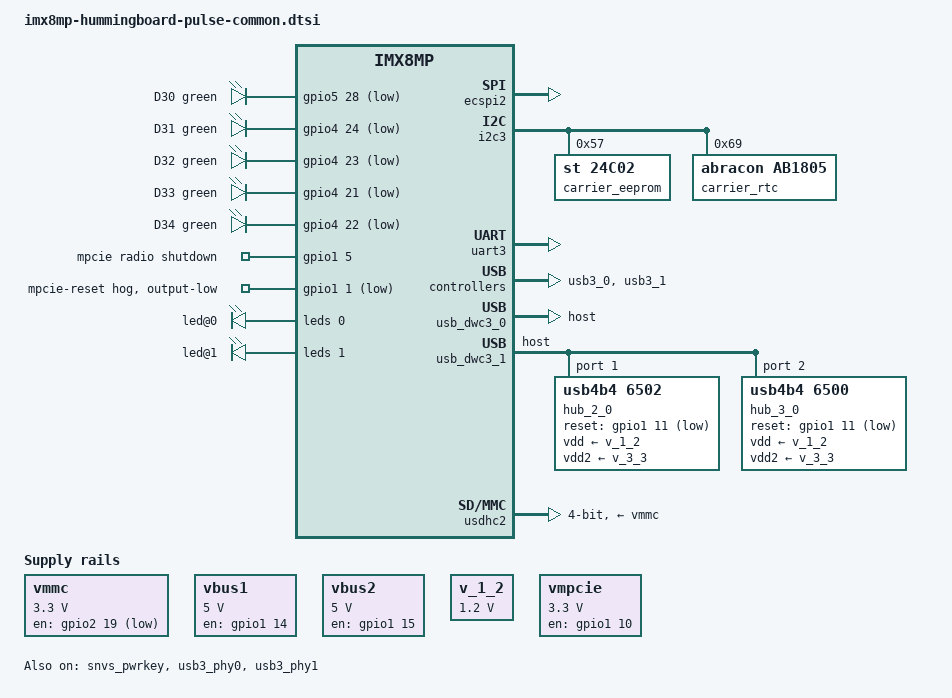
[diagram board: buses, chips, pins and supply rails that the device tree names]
// SPDX-License-Identifier: (GPL-2.0+ OR MIT)
/*
 * Copyright 2025 Josua Mayer <josua@solid-run.com>
 */

#include <dt-bindings/leds/common.h>

/ {
	aliases {
		rtc0 = &carrier_rtc;
		rtc1 = &snvs_rtc;
	};

	leds {
		compatible = "gpio-leds";
		pinctrl-names = "default";
		pinctrl-0 = <&led_pins>;

		led-0 {
			label = "D30";
			color = <LED_COLOR_ID_GREEN>;
			gpios = <&gpio5 28 GPIO_ACTIVE_LOW>;
			default-state = "on";
		};

		led-1 {
			label = "D31";
			color = <LED_COLOR_ID_GREEN>;
			gpios = <&gpio4 24 GPIO_ACTIVE_LOW>;
			default-state = "on";
		};

		led-2 {
			label = "D32";
			color = <LED_COLOR_ID_GREEN>;
			gpios = <&gpio4 23 GPIO_ACTIVE_LOW>;
			default-state = "on";
		};

		led-3 {
			label = "D33";
			color = <LED_COLOR_ID_GREEN>;
			gpios = <&gpio4 21 GPIO_ACTIVE_LOW>;
			default-state = "on";
		};

		led-4 {
			label = "D34";
			color = <LED_COLOR_ID_GREEN>;
			gpios = <&gpio4 22 GPIO_ACTIVE_LOW>;
			default-state = "on";
		};
	};

	rfkill-mpcie-wifi {
		/*
		 * The mpcie connector only has USB,
		 * therefore this rfkill is for cellular radios only.
		 */
		compatible = "rfkill-gpio";
		pinctrl-names = "default";
		pinctrl-0 = <&mpcie_rfkill_pins>;
		label = "mpcie radio";
		radio-type = "wwan";
		/* rfkill-gpio inverts internally */
		shutdown-gpios = <&gpio1 5 GPIO_ACTIVE_HIGH>;
	};

	vmmc: regulator-mmc {
		compatible = "regulator-fixed";
		pinctrl-names = "default";
		pinctrl-0 = <&vmmc_pins>;
		regulator-name = "vmmc";
		regulator-min-microvolt = <3300000>;
		regulator-max-microvolt = <3300000>;
		gpio = <&gpio2 19 GPIO_ACTIVE_HIGH>;
		startup-delay-us = <250>;
	};

	vbus1: regulator-vbus-1 {
		compatible = "regulator-fixed";
		regulator-name = "vbus1";
		gpio = <&gpio1 14 GPIO_ACTIVE_HIGH>;
		enable-active-high;
		pinctrl-names = "default";
		pinctrl-0 = <&vbus1_pins>;
		regulator-min-microvolt = <5000000>;
		regulator-max-microvolt = <5000000>;
	};

	vbus2: regulator-vbus-2 {
		compatible = "regulator-fixed";
		regulator-name = "vbus2";
		gpio = <&gpio1 15 GPIO_ACTIVE_HIGH>;
		enable-active-high;
		pinctrl-names = "default";
		pinctrl-0 = <&vbus2_pins>;
		regulator-min-microvolt = <5000000>;
		regulator-max-microvolt = <5000000>;
	};

	v_1_2: regulator-1-2 {
		compatible = "regulator-fixed";
		regulator-name = "1v2";
		regulator-min-microvolt = <1200000>;
		regulator-max-microvolt = <1200000>;
	};

	vmpcie {
		/* supplies mpcie and m2 connectors */
		compatible = "regulator-fixed";
		regulator-name = "vmpcie";
		gpio = <&gpio1 10 GPIO_ACTIVE_HIGH>;
		enable-active-high;
		pinctrl-names = "default";
		pinctrl-0 = <&vmpcie_pins>;
		regulator-min-microvolt = <3300000>;
		regulator-max-microvolt = <3300000>;
		regulator-always-on;
	};
};

/* mikrobus spi */
&ecspi2 {
	num-cs = <1>;
	pinctrl-names = "default";
	pinctrl-0 = <&mikro_spi_pins>;
	status = "okay";
};

&gpio1 {
	pinctrl-0 = <&mpcie_reset_pins>;
	pinctrl-names = "default";

	mpcie-reset-hog {
		gpio-hog;
		gpios = <1 GPIO_ACTIVE_LOW>;
		output-low;
		line-name = "mpcie-reset";
	};
};

&i2c3 {
	carrier_eeprom: eeprom@57{
		compatible = "st,24c02", "atmel,24c02";
		reg = <0x57>;
		pagesize = <16>;
	};

	carrier_rtc: rtc@69 {
		compatible = "abracon,ab1805";
		reg = <0x69>;
		abracon,tc-diode = "schottky";
		abracon,tc-resistor = <3>;
	};
};

&iomuxc {
	csi_pins: pinctrl-csi-grp {
		fsl,pins = <
			/* Pin 24: STROBE */
			MX8MP_IOMUXC_NAND_DATA01__GPIO3_IO07		0x0
		>;
	};

	led_pins: pinctrl-led-grp {
		fsl,pins = <
			MX8MP_IOMUXC_SAI2_RXC__GPIO4_IO22		0x0
			MX8MP_IOMUXC_SAI2_RXFS__GPIO4_IO21		0x0
			MX8MP_IOMUXC_SAI2_RXD0__GPIO4_IO23		0x0
			MX8MP_IOMUXC_SAI2_TXFS__GPIO4_IO24		0x0
			MX8MP_IOMUXC_UART4_RXD__GPIO5_IO28		0x0
		>;
	};

	mikro_int_pins: pinctrl-mikro-int-grp {
		fsl,pins = <
			MX8MP_IOMUXC_ECSPI1_SS0__GPIO5_IO09		0x0
		>;
	};

	mikro_pwm_pins: pinctrl-mikro-pwm-grp {
		fsl,pins = <
			MX8MP_IOMUXC_ECSPI1_MISO__GPIO5_IO08		0x0
		>;
	};

	mikro_rst_pins: pinctrl-mikro-rst-grp {
		fsl,pins = <
			MX8MP_IOMUXC_SAI3_RXD__GPIO4_IO30		0x0
		>;
	};

	mikro_spi_pins: pinctrl-mikro-spi-grp {
		fsl,pins = <
			MX8MP_IOMUXC_ECSPI2_SS0__ECSPI2_SS0		0x40000
			MX8MP_IOMUXC_ECSPI2_SCLK__ECSPI2_SCLK		0x82
			MX8MP_IOMUXC_ECSPI2_MISO__ECSPI2_MISO		0x82
			MX8MP_IOMUXC_ECSPI2_MOSI__ECSPI2_MOSI		0x82
		>;
	};

	mikro_uart_pins: pinctrl-mikro-uart-grp {
		fsl,pins = <
			MX8MP_IOMUXC_ECSPI1_SCLK__UART3_DCE_RX		0x140
			MX8MP_IOMUXC_ECSPI1_MOSI__UART3_DCE_TX		0x140
		>;
	};

	mpcie_reset_pins: pinctrl-mpcie-reset-grp {
		fsl,pins = <
			MX8MP_IOMUXC_GPIO1_IO01__GPIO1_IO01		0x0
		>;
	};

	mpcie_rfkill_pins: pinctrl-pcie-rfkill-grp {
		fsl,pins = <
			/* weak i/o, open drain */
			MX8MP_IOMUXC_GPIO1_IO05__GPIO1_IO05		0x20
		>;
	};

	usb_hub_pins: pinctrl-usb-hub-grp {
		fsl,pins = <
			MX8MP_IOMUXC_GPIO1_IO11__GPIO1_IO11		0x0
		>;
	};

	usdhc2_pins: pinctrl-usdhc2-grp {
		fsl,pins = <
			MX8MP_IOMUXC_SD2_CLK__USDHC2_CLK		0x190
			MX8MP_IOMUXC_SD2_CMD__USDHC2_CMD		0x1d0
			MX8MP_IOMUXC_SD2_DATA0__USDHC2_DATA0		0x1d0
			MX8MP_IOMUXC_SD2_DATA1__USDHC2_DATA1		0x1d0
			MX8MP_IOMUXC_SD2_DATA2__USDHC2_DATA2		0x1d0
			MX8MP_IOMUXC_SD2_DATA3__USDHC2_DATA3		0x1d0
			MX8MP_IOMUXC_GPIO1_IO04__USDHC2_VSELECT		0x140
			MX8MP_IOMUXC_SD2_CD_B__USDHC2_CD_B		0x140
		>;
	};

	usdhc2_100mhz_pins: pinctrl-usdhc2-100mhz-grp {
		fsl,pins = <
			MX8MP_IOMUXC_SD2_CLK__USDHC2_CLK		0x194
			MX8MP_IOMUXC_SD2_CMD__USDHC2_CMD		0x1d4
			MX8MP_IOMUXC_SD2_DATA0__USDHC2_DATA0		0x1d4
			MX8MP_IOMUXC_SD2_DATA1__USDHC2_DATA1		0x1d4
			MX8MP_IOMUXC_SD2_DATA2__USDHC2_DATA2		0x1d4
			MX8MP_IOMUXC_SD2_DATA3__USDHC2_DATA3		0x1d4
			MX8MP_IOMUXC_GPIO1_IO04__USDHC2_VSELECT		0x140
			MX8MP_IOMUXC_SD2_CD_B__USDHC2_CD_B		0x140
		>;
	};

	usdhc2_200mhz_pins: pinctrl-usdhc2-200mhz-grp {
		fsl,pins = <
			MX8MP_IOMUXC_SD2_CLK__USDHC2_CLK		0x196
			MX8MP_IOMUXC_SD2_CMD__USDHC2_CMD		0x1d6
			MX8MP_IOMUXC_SD2_DATA0__USDHC2_DATA0		0x1d6
			MX8MP_IOMUXC_SD2_DATA1__USDHC2_DATA1		0x1d6
			MX8MP_IOMUXC_SD2_DATA2__USDHC2_DATA2		0x1d6
			MX8MP_IOMUXC_SD2_DATA3__USDHC2_DATA3		0x1d6
			MX8MP_IOMUXC_GPIO1_IO04__USDHC2_VSELECT		0x140
			MX8MP_IOMUXC_SD2_CD_B__USDHC2_CD_B		0x140
		>;
	};

	vbus1_pins: pinctrl-vbus-1-grp {
		fsl,pins = <
			MX8MP_IOMUXC_GPIO1_IO14__GPIO1_IO14		0x20
		>;
	};

	vbus2_pins: pinctrl-vbus-2-grp {
		fsl,pins = <
			MX8MP_IOMUXC_GPIO1_IO15__GPIO1_IO15		0x20
		>;
	};

	vmmc_pins: pinctrl-vmmc-grp {
		fsl,pins = <
			MX8MP_IOMUXC_SD2_RESET_B__GPIO2_IO19		0x41
		>;
	};

	vmpcie_pins: pinctrl-vmpcie-grp {
		fsl,pins = <
			MX8MP_IOMUXC_GPIO1_IO10__GPIO1_IO10		0x0
		>;
	};
};

&phy0 {
	leds {
		#address-cells = <1>;
		#size-cells = <0>;

		/* ADIN1300 LED_0 pin */
		led@0 {
			reg = <0>;
			color = <LED_COLOR_ID_ORANGE>;
			function = LED_FUNCTION_LAN;
			default-state = "keep";
		};

		/* ADIN1300 LINK_ST pin */
		led@1 {
			reg = <1>;
			color = <LED_COLOR_ID_GREEN>;
			function = LED_FUNCTION_LAN;
			default-state = "keep";
		};
	};
};

&snvs_pwrkey {
	status = "okay";
};

/* mikrobus uart */
&uart3 {
	status = "okay";
};

&usb3_phy0 {
	fsl,phy-tx-preemp-amp-tune-microamp = <1200>;
	vbus-supply = <&vbus2>;
	status = "okay";
};

&usb3_0 {
	status = "okay";
};

&usb3_phy1 {
	vbus-supply = <&vbus1>;
	status = "okay";
};

&usb3_1 {
	status = "okay";
};

&usb_dwc3_0 {
	dr_mode = "host";
};

&usb_dwc3_1 {
	dr_mode = "host";
	#address-cells = <1>;
	#size-cells = <0>;
	pinctrl-names = "default";
	pinctrl-0 = <&usb_hub_pins>;

	hub_2_0: hub@1 {
		compatible = "usb4b4,6502", "usb4b4,6506";
		reg = <1>;
		peer-hub = <&hub_3_0>;
		reset-gpios = <&gpio1 11 GPIO_ACTIVE_LOW>;
		vdd-supply = <&v_1_2>;
		vdd2-supply = <&v_3_3>;
	};

	hub_3_0: hub@2 {
		compatible = "usb4b4,6500", "usb4b4,6504";
		reg = <2>;
		peer-hub = <&hub_2_0>;
		reset-gpios = <&gpio1 11 GPIO_ACTIVE_LOW>;
		vdd-supply = <&v_1_2>;
		vdd2-supply = <&v_3_3>;
	};
};

&usdhc2 {
	pinctrl-names = "default", "state_100mhz", "state_200mhz";
	pinctrl-0 = <&usdhc2_pins>;
	pinctrl-1 = <&usdhc2_100mhz_pins>;
	pinctrl-2 = <&usdhc2_200mhz_pins>;
	vmmc-supply = <&vmmc>;
	bus-width = <4>;
	cap-power-off-card;
	full-pwr-cycle;
	status = "okay";
};
